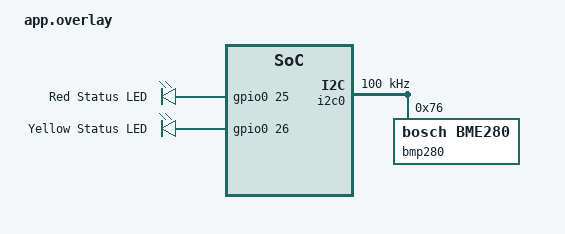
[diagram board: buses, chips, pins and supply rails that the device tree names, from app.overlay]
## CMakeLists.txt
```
cmake_minimum_required(VERSION 3.20.0)
find_package(Zephyr REQUIRED HINTS $ENV{ZEPHYR_BASE})
project(setu_temp_monitor)
target_sources(app PRIVATE src/main.c)
```

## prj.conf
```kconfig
CONFIG_GPIO=y
CONFIG_I2C=y
CONFIG_SENSOR=y
CONFIG_BME280=y
CONFIG_CBPRINTF_FP_SUPPORT=y
```

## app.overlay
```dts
/ {
    aliases {
        ledred = &red_led;
        ledyellow = &yellow_led;
        tempsensor = &bmp280;
    };

    leds {
        compatible = "gpio-leds";
        
        red_led: led_0 {
            gpios = <&gpio0 25 GPIO_ACTIVE_HIGH>;
            label = "Red Status LED";
        };
        
        yellow_led: led_1 {
            gpios = <&gpio0 26 GPIO_ACTIVE_HIGH>;
            label = "Yellow Status LED";
        };
    };
};

&i2c0 {
    status = "okay";
    clock-frequency = <I2C_BITRATE_STANDARD>;

    bmp280: bmp280@76 {
        compatible = "bosch,bme280";
        reg = <0x76>;
        status = "okay";
    };
};
```

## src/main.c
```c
#include <zephyr/kernel.h>
#include <zephyr/device.h>
#include <zephyr/drivers/gpio.h>
#include <zephyr/drivers/sensor.h>
#include <stdio.h>

/* 1. Grab the hardware definitions from our app.overlay Devicetree */
static const struct gpio_dt_spec led_red = GPIO_DT_SPEC_GET(DT_ALIAS(ledred), gpios);
static const struct gpio_dt_spec led_yellow = GPIO_DT_SPEC_GET(DT_ALIAS(ledyellow), gpios);
static const struct device *const bmp280 = DEVICE_DT_GET(DT_ALIAS(tempsensor));

/* 2. Define the Finite State Machine (FSM) states */
typedef enum {
    STATE_INIT,
    STATE_READ_TEMP,
    STATE_TEMP_HIGH,
    STATE_TEMP_LOW
} system_state_t;

/* Set your temperature threshold in Celsius here */
#define TEMP_THRESHOLD 30.0  

int main(void) {
    system_state_t current_state = STATE_INIT;
    struct sensor_value temp_val;
    double current_temp = 0.0;

    while (1) {
        switch (current_state) {
            
            case STATE_INIT:
                /* Verify all hardware is detected and configured correctly */
                if (!gpio_is_ready_dt(&led_red) || !gpio_is_ready_dt(&led_yellow) || !device_is_ready(bmp280)) {
                    printk("ERROR: Hardware not ready. Check Devicetree and wiring.\n");
                    k_msleep(1000);
                    break; /* Stay in INIT until fixed */
                }
                gpio_pin_configure_dt(&led_red, GPIO_OUTPUT_INACTIVE);
                gpio_pin_configure_dt(&led_yellow, GPIO_OUTPUT_INACTIVE);
                
                printk("Hardware Initialized. Starting Sensor Loop...\n");
                current_state = STATE_READ_TEMP;
                break;

            case STATE_READ_TEMP:
                /* Use the Zephyr Sensor API to pull data via I2C */
                sensor_sample_fetch(bmp280);
                sensor_channel_get(bmp280, SENSOR_CHAN_AMBIENT_TEMP, &temp_val);
                current_temp = sensor_value_to_double(&temp_val);
                
                printk("Current Temperature: %.2f C\n", current_temp);

                /* Decide next state based on threshold */
                if (current_temp > TEMP_THRESHOLD) {
                    current_state = STATE_TEMP_HIGH;
                } else {
                    current_state = STATE_TEMP_LOW;
                }
                break;

            case STATE_TEMP_HIGH:
                gpio_pin_set_dt(&led_red, 1);
                gpio_pin_set_dt(&led_yellow, 0);
                printk("-> Threshold Exceeded: Red LED ON\n");
                k_msleep(1000); /* Wait 1 second before reading again */
                current_state = STATE_READ_TEMP;
                break;

            case STATE_TEMP_LOW:
                gpio_pin_set_dt(&led_red, 0);
                gpio_pin_set_dt(&led_yellow, 1);
                printk("-> Temperature Normal: Yellow LED ON\n");
                k_msleep(1000); /* Wait 1 second before reading again */
                current_state = STATE_READ_TEMP;
                break;
        }
    }
    return 0;
}
```
